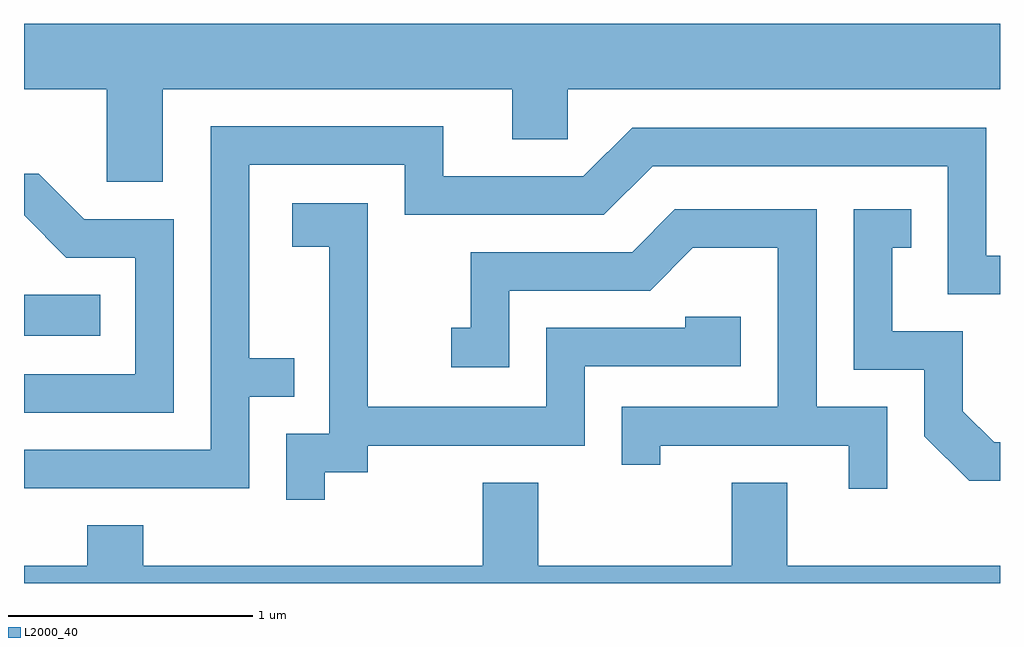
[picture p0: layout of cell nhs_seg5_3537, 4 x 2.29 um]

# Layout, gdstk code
import gdstk
lib = gdstk.Library(unit=1e-6, precision=1e-09)
def R(c, l, rs):  # rectangles x0, y0, x1, y1
    for r in rs: c.add(gdstk.rectangle(r[:2], r[2:], *l))
def P(c, l, *ps):  # polygons
    for p in ps: c.add(gdstk.Polygon(p, *l))
L2000_40 = (2000, 40)

nhs_seg5_3537 = lib.new_cell('nhs_seg5_3537')
R(nhs_seg5_3537, L2000_40, [(289.611,1489.086,289.923,1489.254)])
P(nhs_seg5_3537, L2000_40, [(290.179,1490.096),(291.611,1490.096),(291.611,1489.891),(291.839,1489.891),(291.839,1490.096),(293.611,1490.096),(293.611,1490.364),(289.611,1490.364),(289.611,1490.096),(289.951,1490.096),(289.951,1489.716),(290.179,1489.716)],
  [(290.534,1488.836),(290.718,1488.836),(290.718,1488.994),(290.534,1488.994),(290.534,1489.786),(291.171,1489.786),(291.171,1489.581),(291.987,1489.581),(292.187,1489.781),(293.396,1489.781),(293.396,1489.256),(293.611,1489.256),(293.611,1489.414),(293.554,1489.414),(293.554,1489.939),(292.104,1489.939),(291.904,1489.739),(291.329,1489.739),(291.329,1489.944),(290.376,1489.944),(290.376,1488.619),(289.611,1488.619),(289.611,1488.461),(290.534,1488.461)],
  [(290.224,1489.564),(289.857,1489.564),(289.672,1489.749),(289.611,1489.749),(289.611,1489.579),(289.784,1489.406),(290.066,1489.406),(290.066,1488.929),(289.611,1488.929),(289.611,1488.771),(290.224,1488.771)],
  [(290.844,1488.526),(291.019,1488.526),(291.019,1488.636),(291.909,1488.636),(291.909,1488.961),(292.549,1488.961),(292.549,1489.164),(292.321,1489.164),(292.321,1489.119),(291.751,1489.119),(291.751,1488.794),(291.019,1488.794),(291.019,1489.629),(290.711,1489.629),(290.711,1489.451),(290.861,1489.451),(290.861,1488.684),(290.686,1488.684),(290.686,1488.413),(290.844,1488.413)],
  [(293.611,1488.649),(293.587,1488.649),(293.459,1488.777),(293.459,1489.104),(293.169,1489.104),(293.169,1489.446),(293.248,1489.446),(293.248,1489.604),(293.011,1489.604),(293.011,1488.946),(293.301,1488.946),(293.301,1488.674),(293.484,1488.491),(293.611,1488.491)],
  [(293.149,1488.794),(292.859,1488.794),(292.859,1489.604),(292.279,1489.604),(292.104,1489.429),(291.441,1489.429),(291.441,1489.119),(291.363,1489.119),(291.363,1488.956),(291.599,1488.956),(291.599,1489.271),(292.177,1489.271),(292.352,1489.446),(292.701,1489.446),(292.701,1488.794),(292.061,1488.794),(292.061,1488.558),(292.219,1488.558),(292.219,1488.636),(292.991,1488.636),(292.991,1488.458),(293.149,1488.458)],
  [(293.611,1488.144),(292.739,1488.144),(292.739,1488.484),(292.511,1488.484),(292.511,1488.144),(291.719,1488.144),(291.719,1488.484),(291.491,1488.484),(291.491,1488.144),(290.099,1488.144),(290.099,1488.309),(289.871,1488.309),(289.871,1488.144),(289.611,1488.144),(289.611,1488.072),(293.611,1488.072)])

lib.write_gds('nhs_seg5_3537.gds')
